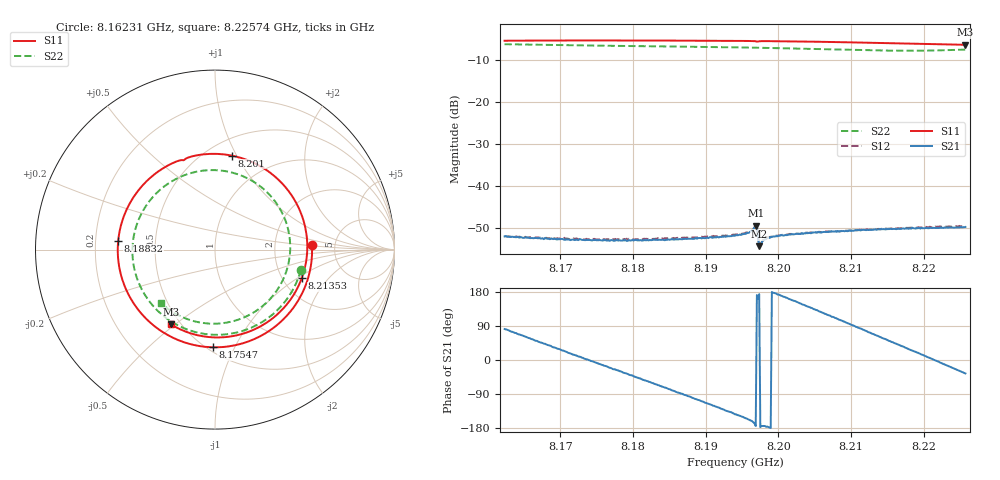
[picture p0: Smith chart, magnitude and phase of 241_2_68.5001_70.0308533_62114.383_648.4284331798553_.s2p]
#  HZ  S  RI  R  50.00
! Rohde & Schwarz Vector Network Analyzer
! Rohde-Schwarz,ZNB20-2Port,1311601062101988,3.16
! Created: UTC 3/20/2024, 4:59:21 PM
! freq[Hz]  re:S11  im:S11  re:S21  im:S21  re:S12  im:S12  re:S22  im:S22
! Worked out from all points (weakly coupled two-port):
!   401 points, 8.16231 GHz to 8.22574 GHz, reference 50 ohm
!   highest |S21| = -49.41 dB at 8.19688 GHz (marker M1); lowest = -54.3 dB at 8.19736 GHz (marker M2)
!   lowest |S11| = -6.3 dB at 8.22574 GHz (marker M3), VSWR 2.87, Z = 22.2 - j24.2 ohm
!   |S11| at or under -10 dB: nowhere
!   |S22| runs from -7.7 to -6.2 dB; largest |S21 - S12| = 0.0002
!   S11 on the Smith chart (normalised r, x): 8.16231 GHz: 3.34, +0.23; 8.17547 GHz: 0.53, -0.82; 8.18832 GHz: 0.30, +0.04; 8.201 GHz: 0.66, +0.96; 8.21353 GHz: 2.54, -1.09; 8.22574 GHz: 0.44, -0.48
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8.162311e9  0.54 0.0246  0.000364 0.00248  0.000312 0.0025  0.4783 -0.1121
8.167226e9  0.4589 -0.2909  0.00164 0.00172  0.00165 0.00178  0.327 -0.3563
8.172935e9  0.1578 -0.5211  0.00227 0.000248  0.00232 0.00028  0.025 -0.4745
8.175472e9  -0.0133 -0.5442  0.00222 -0.000436  0.00229 -0.000439  -0.1183 -0.4568
8.179278e9  -0.2634 -0.4758  0.00177 -0.00134  0.00182 -0.00142  -0.3051 -0.3539
8.18356e9  -0.4715 -0.2697  0.000901 -0.00211  0.000862 -0.00219  -0.4357 -0.1564
8.188317e9  -0.5392 0.0498  -0.000441 -0.0023  -0.000483 -0.00239  -0.4462 0.1044
8.191012e9  -0.4886 0.2308  -0.00124 -0.0021  -0.00137 -0.00215  -0.3861 0.241
8.194025e9  -0.3619 0.3989  -0.00206 -0.00154  -0.00214 -0.00154  -0.27 0.3613
8.19688e9  -0.1855 0.4988  -0.00337 -0.000336  -0.00345 -0.000203  -0.1257 0.4285
8.197355e9  -0.163 0.5067  -0.00191 0.000212  -0.00192 0.000288  -0.0998 0.4347
8.197673e9  -0.1408 0.5157  -0.00207 -0.000207  -0.00213 -0.00013  -0.082 0.4378
8.198624e9  -0.0732 0.5294  -0.00241 -0.000124  -0.00248 -6.66e-06  -0.0285 0.4429
8.201003e9  0.0945 0.5234  -0.00252 0.000675  -0.0025 0.00077  0.1057 0.4263
8.20465e9  0.3255 0.4142  -0.00204 0.0019  -0.00195 0.00199  0.2865 0.323
8.209248e9  0.4983 0.1427  -0.00047 0.00287  -0.000378 0.00291  0.4128 0.0867
8.21353e9  0.4834 -0.1592  0.00128 0.00273  0.00138 0.00271  0.3782 -0.1693
8.215274e9  0.4259 -0.2707  0.00197 0.00235  0.00201 0.00237  0.3188 -0.2614
8.218129e9  0.2784 -0.4128  0.00279 0.00142  0.00286 0.0014  0.1741 -0.3722
8.220666e9  0.1085 -0.4802  0.00312 0.000363  0.00323 0.000235  0.0133 -0.4123
8.223044e9  -0.0628 -0.4836  0.00311 -0.00073  0.00315 -0.000912  -0.1443 -0.3907
8.22574e9  -0.245 -0.4167  0.00265 -0.00188  0.00264 -0.00205  -0.3016 -0.2975
